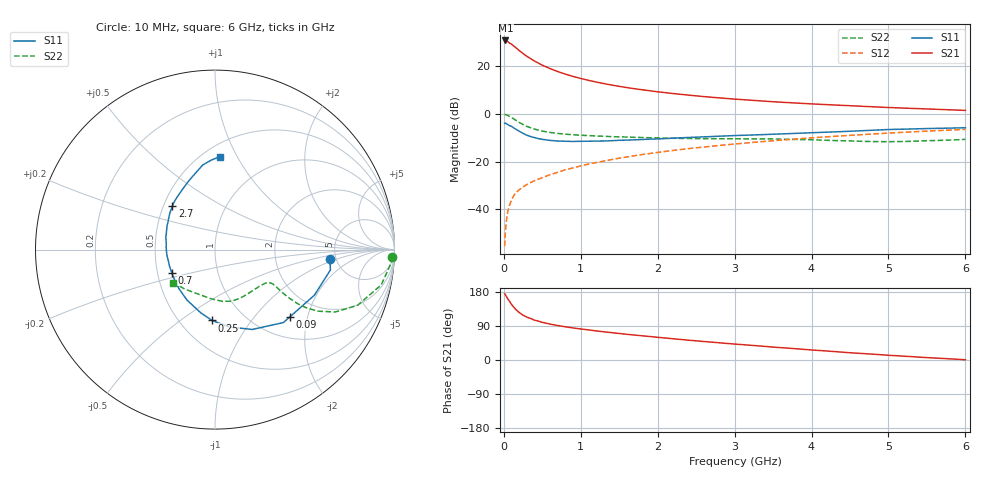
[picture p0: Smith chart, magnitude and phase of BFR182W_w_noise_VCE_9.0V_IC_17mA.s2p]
! (c) 2017  Infineon Technologies AG, Munich
! Infineon Technologies  Discrete & RF Semiconductors
! BFR182W
! VCE =  9.0 V,  IC =  17 mA
! Common Emitter S-Parameters:  Jan 2017
# GHz  S  MA  R  50
!  f  S11  S21  S12  S22
! GHz  MAG  ANG  MAG  ANG  MAG  ANG  MAG  ANG
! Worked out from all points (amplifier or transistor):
!   77 points, 10 MHz to 6 GHz, reference 50 ohm
!   highest |S21| = 30.9 dB at 20 MHz (marker M1)
!   |S21| within 3 dB of that: start of sweep to 154.3 MHz
!   unconditionally stable (mu >= 1): 888.4 MHz to 2.421 GHz
!   at 130 MHz: K = 0.38, MSG = 31.4 dB, |S12| = -34.2 dB
!   at 2.2 GHz: K = 1.01, MAG = 11.2 dB, |S12| = -15.2 dB
!   at 6 GHz: K = 0.86, MSG = 4.0 dB, |S12| = -6.4 dB
!   lowest NFmin = 1.32 dB at 450 MHz
!   S11 on the Smith chart (normalised r, x): 10 MHz: 4.43, -0.83; 90 MHz: 1.42, -1.56; 250 MHz: 0.71, -0.66; 700 MHz: 0.59, -0.16; 2.7 GHz: 0.56, +0.30; 6 GHz: 0.60, +0.85
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0.01  0.6421 -4.9  34.99 175.2  0.0017 87.1  0.9885 -2.3
0.02  0.6531 -10.0  35.15 172.0  0.0034 88.7  0.9802 -5.0
0.05  0.6094 -24.6  33.2 161.6  0.0089 77.0  0.9469 -12.0
0.09  0.5606 -42.1  29.95 149.7  0.0145 72.8  0.8702 -19.3
0.1  0.5573 -46.8  29.37 146.3  0.0159 72.2  0.8535 -21.3
0.15  0.491 -65.0  25.22 134.3  0.022 67.0  0.7547 -27.4
0.2  0.4379 -79.7  21.59 125.3  0.0259 65.3  0.6705 -30.8
0.25  0.3951 -92.4  18.68 118.2  0.0298 63.6  0.6047 -32.5
0.3  0.3611 -102.7  16.29 113.0  0.0334 63.4  0.5523 -33.2
0.4  0.3216 -119.0  12.93 105.0  0.0403 64.7  0.4842 -33.1
0.5  0.2963 -132.6  10.63 99.4  0.0464 65.9  0.4414 -32.4
0.6  0.2813 -143.1  9.034 94.8  0.0538 66.7  0.4134 -31.7
0.7  0.2734 -152.1  7.826 91.0  0.0602 68.5  0.3941 -31.1
0.9  0.2675 -166.4  6.178 84.6  0.0745 69.1  0.3697 -30.8
1.1  0.2705 -177.6  5.125 79.4  0.0896 69.6  0.3548 -31.5
1.5  0.2829 165.7  3.827 70.0  0.1194 69.0  0.3337 -34.7
2.1  0.3074 147.8  2.824 58.0  0.1653 66.5  0.3141 -44.0
2.7  0.339 134.5  2.263 47.2  0.2122 62.7  0.3056 -56.1
3.1  0.3596 126.2  2.016 40.6  0.2443 59.8  0.3033 -64.2
4.1  0.4132 110.0  1.612 25.1  0.3265 51.7  0.2864 -84.6
5.1  0.4802 97.1  1.359 11.3  0.4083 42.4  0.2655 -114.3
6  0.5184 87.2  1.199 0.7  0.4794 33.4  0.296 -141.5
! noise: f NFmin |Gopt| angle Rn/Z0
0.45  1.32  0.06  165  0.15
0.9  1.38  0.07  166  0.15
1.9  1.89  0.25  -146  0.15
2.4  2.15  0.25  -131  0.24
